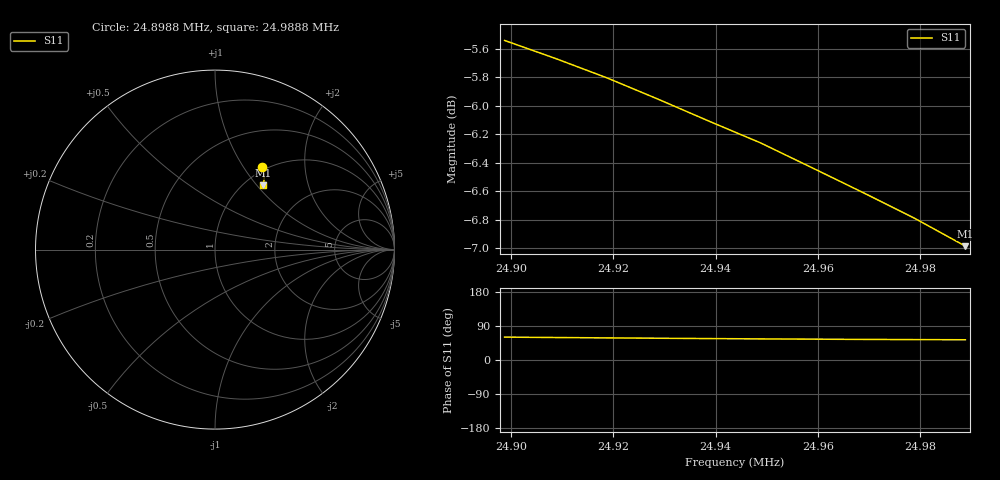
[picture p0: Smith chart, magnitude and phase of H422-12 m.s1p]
# HZ S RI R 50
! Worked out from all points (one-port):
!   10 points, 24.8988 MHz to 24.9888 MHz, reference 50 ohm
!   lowest |S11| = -7.0 dB at 24.9888 MHz (marker M1), VSWR 2.62, Z = 60 + j53.9 ohm
!   |S11| at or under -10 dB: nowhere
2.489876e7  0.2614 0.4593
2.490876e7  0.2656 0.4479
2.491876e7  0.2689 0.4365
2.492877e7  0.2714 0.4246
2.493877e7  0.273 0.4129
2.494878e7  0.2741 0.4018
2.495878e7  0.2735 0.3905
2.496878e7  0.2723 0.3797
2.497879e7  0.2702 0.3694
2.498879e7  0.2667 0.3592
